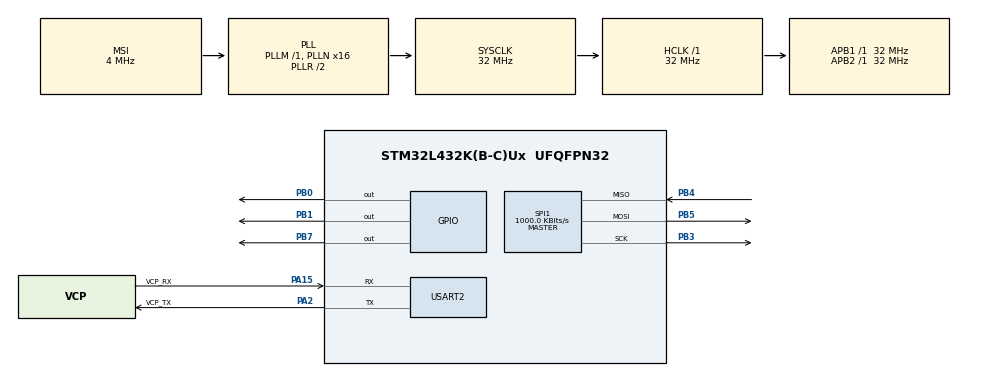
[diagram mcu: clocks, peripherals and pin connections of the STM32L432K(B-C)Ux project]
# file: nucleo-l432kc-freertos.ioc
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FREERTOS.Tasks01=blinkTask01,24,128,Task_Blink_01,Default,NULL,Dynamic,NULL,NULL;spiComTask,25,128,SpiComTask,Default,NULL,Dynamic,NULL,NULL
Mcu.Family=STM32L4
Mcu.Name=STM32L432K(B-C)Ux
Mcu.Package=UFQFPN32
NVIC.PriorityGroup=NVIC_PRIORITYGROUP_4
NVIC.TIM6_DAC_IRQn=true\:15\:0\:false\:false\:true\:false\:false\:true\:true
NVIC.TimeBase=TIM6_DAC_IRQn
NVIC.TimeBaseIP=TIM6
PA0.GPIO_Label=MCO [High speed clock in]
PA0.Mode=HSE-External-Clock-Source-for-LittleOrca
PA0.Signal=RCC_CK_IN
PA13\ (JTMS-SWDIO).GPIO_Label=SWDIO
PA13\ (JTMS-SWDIO).Mode=Serial_Wire
PA13\ (JTMS-SWDIO).Signal=SYS_JTMS-SWDIO
PA14\ (JTCK-SWCLK).GPIO_Label=SWCLK
PA14\ (JTCK-SWCLK).Mode=Serial_Wire
PA14\ (JTCK-SWCLK).Signal=SYS_JTCK-SWCLK
PA15\ (JTDI).GPIO_Label=VCP_RX
PA15\ (JTDI).Mode=Asynchronous
PA15\ (JTDI).Signal=USART2_RX
PA2.GPIO_Label=VCP_TX
PA2.Mode=Asynchronous
PA2.Signal=USART2_TX
PB0.Signal=GPIO_Output
PB1.Signal=GPIO_Output
PB3\ (JTDO-TRACESWO).Mode=Full_Duplex_Master
PB3\ (JTDO-TRACESWO).Signal=SPI1_SCK
PB4\ (NJTRST).Mode=Full_Duplex_Master
PB4\ (NJTRST).Signal=SPI1_MISO
PB5.Mode=Full_Duplex_Master
PB5.Signal=SPI1_MOSI
PB7.Signal=GPIO_Output
PC14-OSC32_IN\ (PC14).Mode=LSE-External-Oscillator
PC14-OSC32_IN\ (PC14).Signal=RCC_OSC32_IN
PC15-OSC32_OUT\ (PC15).Mode=LSE-External-Oscillator
PC15-OSC32_OUT\ (PC15).Signal=RCC_OSC32_OUT
ProjectManager.HeapSize=0x200
ProjectManager.StackSize=0x400
ProjectManager.TargetToolchain=Makefile
RCC.AHBFreq_Value=32000000
RCC.APB1Freq_Value=32000000
RCC.APB1TimFreq_Value=32000000
RCC.APB2Freq_Value=32000000
RCC.APB2TimFreq_Value=32000000
RCC.CortexFreq_Value=32000000
RCC.HCLKFreq_Value=32000000
RCC.HSE_VALUE=8000000
RCC.HSI16_VALUE=16000000
RCC.HSI48_VALUE=48000000
RCC.HSI_VALUE=16000000
RCC.MSI_VALUE=4000000
RCC.PLLMUL=RCC_PLLMUL_4
RCC.PLLN=16
RCC.SYSCLKFreq_VALUE=32000000
RCC.SYSCLKSource=RCC_SYSCLKSOURCE_PLLCLK
RCC.VCOOutputFreq_Value=64000000
SPI1.BaudRatePrescaler=SPI_BAUDRATEPRESCALER_32
SPI1.CalculateBaudRate=1000.0 KBits/s
SPI1.DataSize=SPI_DATASIZE_8BIT
SPI1.Direction=SPI_DIRECTION_2LINES
SPI1.Mode=SPI_MODE_MASTER
SPI1.NSSPMode=SPI_NSS_PULSE_DISABLE
SPI1.VirtualType=VM_MASTER
USART2.VirtualMode-Asynchronous=VM_ASYNC
VP_FREERTOS_VS_CMSIS_V2.Mode=CMSIS_V2
VP_SYS_VS_tim6.Mode=TIM6
board=NUCLEO-L432KC

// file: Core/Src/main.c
/* USER CODE BEGIN Header */
/**
 ******************************************************************************
 * @file           : main.c
 * @brief          : Main program body
 ******************************************************************************
 * @attention
 *
 * Copyright (c) 2024 STMicroelectronics.
 * All rights reserved.
 *
 * This software is licensed under terms that can be found in the LICENSE file
 * in the root directory of this software component.
 * If no LICENSE file comes with this software, it is provided AS-IS.
 *
 ******************************************************************************
 */
/* USER CODE END Header */
#include "main.h"

#include "cmsis_os.h"

/* USER CODE BEGIN PTD */
typedef enum {
    COM_STATUS_ERROR = 0x00,
    COM_STATUS_OK = 0x01,
} ComStatus_t;
/* USER CODE END PTD */

SPI_HandleTypeDef hspi1;

UART_HandleTypeDef huart2;

/* Definitions for blinkTask01 */
osThreadId_t blinkTask01Handle;
const osThreadAttr_t blinkTask01_attributes = {
    .name = "blinkTask01",
    .stack_size = 128 * 4,
    .priority = (osPriority_t)osPriorityNormal,
};
/* Definitions for spiComTask */
osThreadId_t spiComTaskHandle;
const osThreadAttr_t spiComTask_attributes = {
    .name = "spiComTask",
    .stack_size = 128 * 4,
    .priority = (osPriority_t)osPriorityNormal1,
};
/* USER CODE BEGIN PV */
TaskHandle_t spi_com_task_handle;
ComStatus_t spi_com_status;
uint8_t message[] = "Hallo";

/* USER CODE END PV */

void SystemClock_Config(void);
static void MX_GPIO_Init(void);
static void MX_USART2_UART_Init(void);
static void MX_SPI1_Init(void);
void Task_Blink_01(void *argument);
void SpiComTask(void *argument);

int main(void) {

    /* MCU Configuration--------------------------------------------------------*/

    /* Reset of all peripherals, Initializes the Flash interface and the Systick. */
    HAL_Init();

    /* Configure the system clock */
    SystemClock_Config();

    /* Initialize all configured peripherals */
    MX_GPIO_Init();
    MX_USART2_UART_Init();
    MX_SPI1_Init();

    /* Init scheduler */
    osKernelInitialize();

    /* Create the thread(s) */
    /* creation of blinkTask01 */
    blinkTask01Handle = osThreadNew(Task_Blink_01, NULL, &blinkTask01_attributes);

    /* creation of spiComTask */
    spiComTaskHandle = osThreadNew(SpiComTask, NULL, &spiComTask_attributes);

    /* Start scheduler */
    osKernelStart();

    /* We should never get here as control is now taken by the scheduler */
    /* Infinite loop */
    while (1) {

    }
}

void SystemClock_Config(void) {
    RCC_OscInitTypeDef RCC_OscInitStruct = {0};
    RCC_ClkInitTypeDef RCC_ClkInitStruct = {0};

    /** Configure the main internal regulator output voltage
     */
    if (HAL_PWREx_ControlVoltageScaling(PWR_REGULATOR_VOLTAGE_SCALE1) != HAL_OK) {
        Error_Handler();
    }

    /** Configure LSE Drive Capability
     */
    HAL_PWR_EnableBkUpAccess();
    __HAL_RCC_LSEDRIVE_CONFIG(RCC_LSEDRIVE_LOW);

    /** Initializes the RCC Oscillators according to the specified parameters
     * in the RCC_OscInitTypeDef structure.
     */
    RCC_OscInitStruct.OscillatorType = RCC_OSCILLATORTYPE_LSE | RCC_OSCILLATORTYPE_MSI;
    RCC_OscInitStruct.LSEState = RCC_LSE_ON;
    RCC_OscInitStruct.MSIState = RCC_MSI_ON;
    RCC_OscInitStruct.MSICalibrationValue = 0;
    RCC_OscInitStruct.MSIClockRange = RCC_MSIRANGE_6;
    RCC_OscInitStruct.PLL.PLLState = RCC_PLL_ON;
    RCC_OscInitStruct.PLL.PLLSource = RCC_PLLSOURCE_MSI;
    RCC_OscInitStruct.PLL.PLLM = 1;
    RCC_OscInitStruct.PLL.PLLN = 16;
    RCC_OscInitStruct.PLL.PLLP = RCC_PLLP_DIV7;
    RCC_OscInitStruct.PLL.PLLQ = RCC_PLLQ_DIV2;
    RCC_OscInitStruct.PLL.PLLR = RCC_PLLR_DIV2;
    if (HAL_RCC_OscConfig(&RCC_OscInitStruct) != HAL_OK) {
        Error_Handler();
    }

    /** Initializes the CPU, AHB and APB buses clocks
     */
    RCC_ClkInitStruct.ClockType = RCC_CLOCKTYPE_HCLK | RCC_CLOCKTYPE_SYSCLK | RCC_CLOCKTYPE_PCLK1 | RCC_CLOCKTYPE_PCLK2;
    RCC_ClkInitStruct.SYSCLKSource = RCC_SYSCLKSOURCE_PLLCLK;
    RCC_ClkInitStruct.AHBCLKDivider = RCC_SYSCLK_DIV1;
    RCC_ClkInitStruct.APB1CLKDivider = RCC_HCLK_DIV1;
    RCC_ClkInitStruct.APB2CLKDivider = RCC_HCLK_DIV1;

    if (HAL_RCC_ClockConfig(&RCC_ClkInitStruct, FLASH_LATENCY_1) != HAL_OK) {
        Error_Handler();
    }

    /** Enable MSI Auto calibration
     */
    HAL_RCCEx_EnableMSIPLLMode();
}

static void MX_SPI1_Init(void) {

    /* SPI1 parameter configuration*/
    hspi1.Instance = SPI1;
    hspi1.Init.Mode = SPI_MODE_MASTER;
    hspi1.Init.Direction = SPI_DIRECTION_2LINES;
    hspi1.Init.DataSize = SPI_DATASIZE_8BIT;
    hspi1.Init.CLKPolarity = SPI_POLARITY_LOW;
    hspi1.Init.CLKPhase = SPI_PHASE_1EDGE;
    hspi1.Init.NSS = SPI_NSS_SOFT;
    hspi1.Init.BaudRatePrescaler = SPI_BAUDRATEPRESCALER_32;
    hspi1.Init.FirstBit = SPI_FIRSTBIT_MSB;
    hspi1.Init.TIMode = SPI_TIMODE_DISABLE;
    hspi1.Init.CRCCalculation = SPI_CRCCALCULATION_DISABLE;
    hspi1.Init.CRCPolynomial = 7;
    hspi1.Init.CRCLength = SPI_CRC_LENGTH_DATASIZE;
    hspi1.Init.NSSPMode = SPI_NSS_PULSE_DISABLE;
    if (HAL_SPI_Init(&hspi1) != HAL_OK) {
        Error_Handler();
    }
}

static void MX_USART2_UART_Init(void) {

    huart2.Instance = USART2;
    huart2.Init.BaudRate = 115200;
    huart2.Init.WordLength = UART_WORDLENGTH_8B;
    huart2.Init.StopBits = UART_STOPBITS_1;
    huart2.Init.Parity = UART_PARITY_NONE;
    huart2.Init.Mode = UART_MODE_TX_RX;
    huart2.Init.HwFlowCtl = UART_HWCONTROL_NONE;
    huart2.Init.OverSampling = UART_OVERSAMPLING_16;
    huart2.Init.OneBitSampling = UART_ONE_BIT_SAMPLE_DISABLE;
    huart2.AdvancedInit.AdvFeatureInit = UART_ADVFEATURE_NO_INIT;
    if (HAL_UART_Init(&huart2) != HAL_OK) {
        Error_Handler();
    }
}

static void MX_GPIO_Init(void) {
    GPIO_InitTypeDef GPIO_InitStruct = {0};

    /* GPIO Ports Clock Enable */
    __HAL_RCC_GPIOC_CLK_ENABLE();
    __HAL_RCC_GPIOA_CLK_ENABLE();
    __HAL_RCC_GPIOB_CLK_ENABLE();

    /*Configure GPIO pin Output Level */
    HAL_GPIO_WritePin(GPIOB, GPIO_PIN_0 | GPIO_PIN_1 | GPIO_PIN_7, GPIO_PIN_RESET);

    /*Configure GPIO pins : PB0 PB1 PB7 */
    GPIO_InitStruct.Pin = GPIO_PIN_0 | GPIO_PIN_1 | GPIO_PIN_7;
    GPIO_InitStruct.Mode = GPIO_MODE_OUTPUT_PP;
    GPIO_InitStruct.Pull = GPIO_NOPULL;
    GPIO_InitStruct.Speed = GPIO_SPEED_FREQ_LOW;
    HAL_GPIO_Init(GPIOB, &GPIO_InitStruct);

}

void Task_Blink_01(void *argument) {
    /* USER CODE BEGIN 5 */
    /* Infinite loop */
    for (;;) {
        HAL_GPIO_TogglePin(GPIOB, GPIO_PIN_1);
        osDelay(500);
    }

    // Clean up if needed
    osThreadTerminate(NULL);
    /* USER CODE END 5 */
}

void SpiComTask(void *argument) {
    /* USER CODE BEGIN SpiComTask */
    /* Infinite loop */
    spi_com_task_handle = xTaskGetCurrentTaskHandle();
    spi_com_status = COM_STATUS_OK;

    for (;;) {
        HAL_GPIO_WritePin(GPIOB, GPIO_PIN_0, GPIO_PIN_RESET);  // LED
        HAL_GPIO_WritePin(GPIOA, GPIO_PIN_7, GPIO_PIN_RESET);  // CS
        HAL_SPI_Transmit(&hspi1, message, 6, 1000);
        HAL_GPIO_WritePin(GPIOA, GPIO_PIN_7, GPIO_PIN_SET);  // CS
        HAL_GPIO_WritePin(GPIOB, GPIO_PIN_0, GPIO_PIN_SET);  // LED
        osDelay(1000);
    }
    /* USER CODE END SpiComTask */
}

void HAL_TIM_PeriodElapsedCallback(TIM_HandleTypeDef *htim) {
    if (htim->Instance == TIM6) {
        HAL_IncTick();
    }
}

void Error_Handler(void) {
    __disable_irq();
    while (1) {
    }
}
